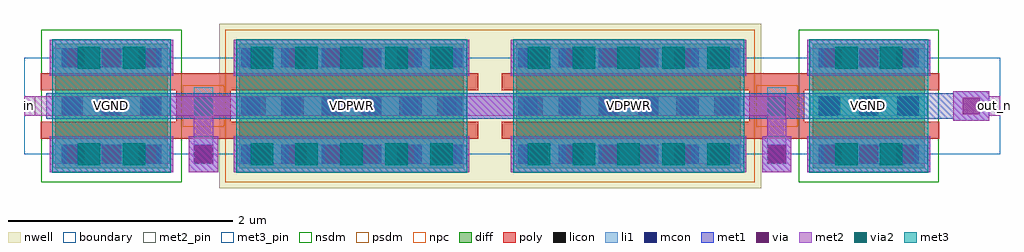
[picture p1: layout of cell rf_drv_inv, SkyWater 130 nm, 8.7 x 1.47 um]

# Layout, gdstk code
import gdstk
lib = gdstk.Library(unit=1e-6, precision=1e-09)
def R(c, l, rs):  # rectangles x0, y0, x1, y1
    for r in rs: c.add(gdstk.rectangle(r[:2], r[2:], *l))
def A(c, l, x, y, w, h, nx, ny, dx, dy):  # array of equal rectangles
    R(c, l, [(x+i*dx, y+j*dy, x+i*dx+w, y+j*dy+h) for i in range(nx) for j in range(ny)])
nwell = (64, 20)
diff = (65, 20)
poly = (66, 20)
licon = (66, 44)
li1 = (67, 20)
mcon = (67, 44)
met1 = (68, 20)
via = (68, 44)
met2_pin = (69, 16)
met2 = (69, 20)
via2 = (69, 44)
met3_pin = (70, 16)
met3 = (70, 20)
nsdm = (93, 44)
psdm = (94, 20)
npc = (95, 20)
boundary = (235, 4)

rf_drv_inv = lib.new_cell('rf_drv_inv')
R(rf_drv_inv, nwell, [(1.74,-0.735,6.57,0.735)])
R(rf_drv_inv, diff, [(0.28,-0.555,1.28,0.555), (1.92,-0.555,3.92,0.555), (4.39,-0.555,6.39,0.555), (7.03,-0.555,8.03,0.555)])
R(rf_drv_inv, poly, [(0.15,-0.29,4.05,-0.14), (4.26,-0.29,8.16,-0.14), (1.355,-0.14,1.845,0.14), (6.465,-0.14,6.955,0.14), (0.15,0.14,4.05,0.29), (4.26,0.14,8.16,0.29)])
A(rf_drv_inv, licon, 0.355, -0.515, 0.17, 0.17, 3, 3, 0.34, 0.43)
A(rf_drv_inv, licon, 1.985, -0.515, 0.17, 0.17, 6, 3, 0.34, 0.43)
A(rf_drv_inv, licon, 4.455, -0.515, 0.17, 0.17, 6, 3, 0.34, 0.43)
A(rf_drv_inv, licon, 7.105, -0.515, 0.17, 0.17, 3, 3, 0.34, 0.43)
R(rf_drv_inv, licon, [(1.515,-0.085,1.685,0.085), (6.625,-0.085,6.795,0.085)])
A(rf_drv_inv, li1, 0.26, -0.515, 1.04, 0.17, 1, 3, 0, 0.43)
A(rf_drv_inv, li1, 1.9, -0.515, 2.04, 0.17, 1, 3, 0, 0.43)
A(rf_drv_inv, li1, 4.37, -0.515, 2.04, 0.17, 1, 3, 0, 0.43)
A(rf_drv_inv, li1, 7.01, -0.515, 1.04, 0.17, 1, 3, 0, 0.43)
R(rf_drv_inv, li1, [(1.515,-0.515,1.685,0.165), (6.625,-0.515,6.795,0.165)])
A(rf_drv_inv, mcon, 0.335, -0.515, 0.17, 0.17, 3, 3, 0.36, 0.43)
A(rf_drv_inv, mcon, 1.935, -0.515, 0.17, 0.17, 6, 3, 0.36, 0.43)
A(rf_drv_inv, mcon, 4.405, -0.515, 0.17, 0.17, 6, 3, 0.36, 0.43)
A(rf_drv_inv, mcon, 7.085, -0.515, 0.17, 0.17, 3, 3, 0.36, 0.43)
R(rf_drv_inv, mcon, [(1.515,-0.515,1.685,-0.345), (6.625,-0.515,6.795,-0.345)])
R(rf_drv_inv, met1, [(0.23,-0.59,1.33,-0.27), (1.47,-0.59,1.73,-0.27), (1.87,-0.59,3.97,-0.27), (4.34,-0.59,6.44,-0.27), (6.58,-0.59,6.84,-0.27), (6.98,-0.59,8.08,-0.27), (8.285,-0.13,8.605,-0.115), (0.2,-0.115,8.605,0.115), (8.285,0.115,8.605,0.13), (0.23,0.27,1.33,0.59), (1.87,0.27,3.97,0.59), (4.34,0.27,6.44,0.59), (6.98,0.27,8.08,0.59)])
A(rf_drv_inv, via, 0.385, -0.505, 0.15, 0.15, 3, 2, 0.32, 0.86)
A(rf_drv_inv, via, 2.045, -0.505, 0.15, 0.15, 6, 2, 0.32, 0.86)
A(rf_drv_inv, via, 4.515, -0.505, 0.15, 0.15, 6, 2, 0.32, 0.86)
A(rf_drv_inv, via, 7.135, -0.505, 0.15, 0.15, 3, 2, 0.32, 0.86)
R(rf_drv_inv, via, [(1.525,-0.505,1.675,-0.355), (6.635,-0.505,6.785,-0.355), (8.37,-0.075,8.52,0.075)])
R(rf_drv_inv, met2_pin, [(0,-0.085,0.1,0.085), (8.6,-0.085,8.7,0.085)])
R(rf_drv_inv, met2, [(0.23,-0.59,1.33,-0.27), (1.47,-0.59,1.73,-0.27), (1.87,-0.59,3.97,-0.27), (4.34,-0.59,6.44,-0.27), (6.58,-0.59,6.84,-0.27), (6.98,-0.59,8.08,-0.27), (1.515,-0.27,1.685,-0.085), (6.625,-0.27,6.795,-0.085), (8.285,-0.13,8.605,-0.085), (0,-0.085,6.795,0.085), (8.285,-0.085,8.7,0.085), (8.285,0.085,8.605,0.13), (0.23,0.27,1.33,0.59), (1.87,0.27,3.97,0.59), (4.34,0.27,6.44,0.59), (6.98,0.27,8.08,0.59)])
A(rf_drv_inv, via2, 2.02, -0.53, 0.2, 0.2, 5, 2, 0.4, 0.86)
A(rf_drv_inv, via2, 4.49, -0.53, 0.2, 0.2, 5, 2, 0.4, 0.86)
R(rf_drv_inv, via2, [(0.48,-0.53,0.68,-0.33), (0.88,-0.53,1.08,-0.33), (7.23,-0.53,7.43,-0.33), (7.63,-0.53,7.83,-0.33), (0.48,0.33,0.68,0.53), (0.88,0.33,1.08,0.53), (7.23,0.33,7.43,0.53), (7.63,0.33,7.83,0.53)])
R(rf_drv_inv, met3_pin, [(0.25,-0.595,1.31,0.595), (1.89,-0.595,3.95,0.595), (4.36,-0.595,6.42,0.595), (7,-0.595,8.06,0.595)])
R(rf_drv_inv, met3, [(0.25,-0.595,1.31,0.595), (1.89,-0.595,3.95,0.595), (4.36,-0.595,6.42,0.595), (7,-0.595,8.06,0.595)])
R(rf_drv_inv, nsdm, [(0.155,-0.68,1.405,0.68), (6.905,-0.68,8.155,0.68)])
R(rf_drv_inv, psdm, [(1.795,-0.68,6.515,0.68)])
R(rf_drv_inv, npc, [(1.415,-0.185,1.785,0.185), (6.525,-0.185,6.895,0.185)])
R(rf_drv_inv, boundary, [(0,-0.43,8.7,0.43)])
rf_drv_inv.add(gdstk.Label('VGND', (7.53,0), layer=70, texttype=5))
rf_drv_inv.add(gdstk.Label('VGND', (0.78,0), layer=70, texttype=5))
rf_drv_inv.add(gdstk.Label('VDPWR', (5.39,0), layer=70, texttype=5))
rf_drv_inv.add(gdstk.Label('VDPWR', (2.92,0), layer=70, texttype=5))
rf_drv_inv.add(gdstk.Label('in', (0.05,0), layer=69, texttype=5))
rf_drv_inv.add(gdstk.Label('out_n', (8.65,0), layer=69, texttype=5))

lib.write_gds('rf_drv_inv.gds')
